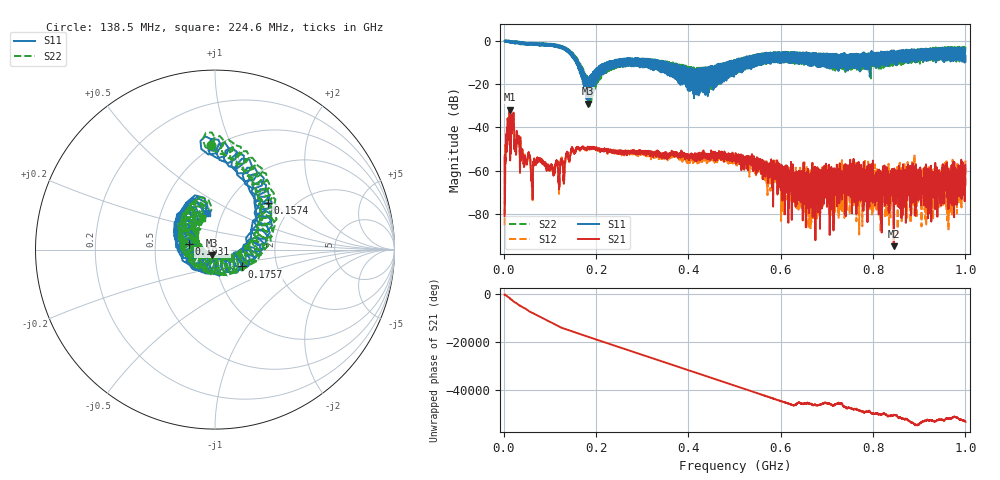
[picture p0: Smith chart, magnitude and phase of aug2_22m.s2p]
!Keysight Technologies N9923A: A.12.45
!Date: Saturday, 02 August 2025 19:10:23
!Timezone: (UTC+08:00) Kuala Lumpur, Singapore
!Model: N9923A
!Serial: MY61181427
!GPS Latitude:
!GPS Longitude:
!GPS TimeStamp: 0001-01-01 00:00:00Z
!GPS Seconds Since Last Read: 0
!CHECKSUM:1432320889
!Correction: S11(ON U)S21(ON U)S12(ON U)S22(ON U)
!S2P File: Measurements:S11,S21,S12,S22:
# Hz S DB R 50
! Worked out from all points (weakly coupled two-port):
!   4001 points, 2 MHz to 1 GHz, reference 50 ohm
!   highest |S21| = -31.91 dB at 12.73 MHz (marker M1); lowest = -94.9 dB at 844.8 MHz (marker M2)
!   lowest |S11| = -29.1 dB at 182.9 MHz (marker M3), VSWR 1.07, Z = 48.3 - j3.04 ohm
!   |S11| at or under -10 dB: 162.4 MHz to 223.5 MHz (61.07 MHz wide, 31.6 % of centre); 223.7 MHz to 225.2 MHz (1.539 MHz wide, 0.686 % of centre); 352.8 MHz to 484.7 MHz (131.8 MHz wide, 31.5 % of centre) (the widest 3 of 280)
!   |S22| runs from -30.1 to 0.1 dB; largest |S21 - S12| = 0.0024
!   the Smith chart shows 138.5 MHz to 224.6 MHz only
!   S11 on the Smith chart (normalised r, x): 138.5 MHz: 0.49, +0.84; 157.4 MHz: 1.49, +0.91; 175.7 MHz: 1.32, -0.25; 193.1 MHz: 0.75, +0.05; 224.6 MHz: 0.84, +0.36
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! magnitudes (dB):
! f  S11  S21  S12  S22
! 2 MHz  -0.1  -81.1  -85.2  -0.1
! 8.238 MHz  0.1  -41.4  -41.6  0.0
! 12.73 MHz  -0.7  -31.9  -31.9  -0.8
! 17.22 MHz  -0.5  -37.4  -37.3  -0.5
! 39.67 MHz  -1.4  -51.3  -51.1  -1.5
! 63.13 MHz  -1.6  -64.9  -65.3  -1.7
! 138.5 MHz  -4.8  -52.8  -52.5  -4.7
! 157.4 MHz  -8.2  -49.8  -49.3  -7.7
! 168.4 MHz  -14.9  -49.6  -49.3  -15.4
! 175.7 MHz  -15.1  -49.9  -49.6  -14.6
! 182.9 MHz  -29.1  -49.4  -49.2  -23.8
! 193.1 MHz  -16.6  -49.6  -49.0  -22.8
! 224.6 MHz  -13.6  -50.6  -51.1  -14.3
! 334.8 MHz  -11.6  -51.3  -52.7  -9.5
! 417.2 MHz  -24.8  -55.0  -53.5  -15.4
! 501 MHz  -12.3  -54.3  -56.4  -13.5
! 667.4 MHz  -6.7  -69.2  -64.0  -10.4
! 753.5 MHz  -6.4  -60.2  -66.4  -13.2
! 833.8 MHz  -6.8  -78.7  -63.3  -7.8
! 844.8 MHz  -7.6  -94.9  -64.0  -6.1
! 966.6 MHz  -4.6  -68.3  -64.0  -4.3
! 1 GHz  -7.1  -57.4  -55.2  -2.8
